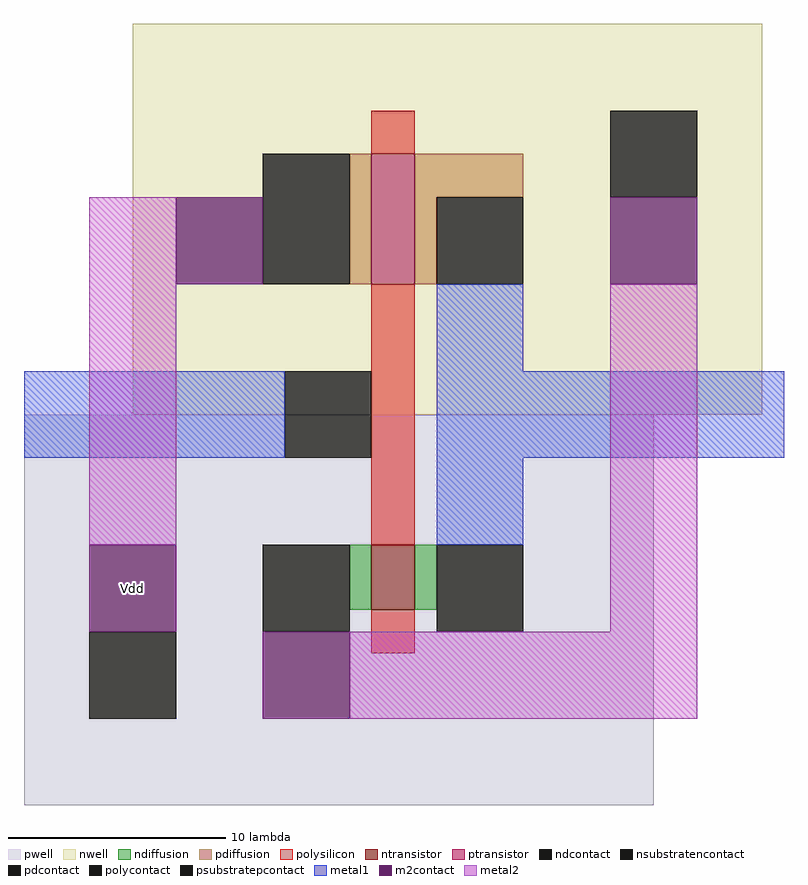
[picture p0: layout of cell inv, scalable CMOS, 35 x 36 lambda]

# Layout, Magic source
magic
tech scmos
<< nwell >>
rect -27 -9 2 9
<< pwell >>
rect -32 -27 -3 -9
<< ntransistor >>
rect -16 -18 -14 -15
<< ptransistor >>
rect -16 -3 -14 3
<< ndiffusion >>
rect -17 -18 -16 -15
rect -14 -18 -13 -15
<< pdiffusion >>
rect -17 -3 -16 3
rect -14 1 -9 3
rect -14 -3 -13 1
<< ndcontact >>
rect -21 -19 -17 -15
rect -13 -19 -9 -15
<< pdcontact >>
rect -21 -3 -17 3
rect -13 -3 -9 1
<< psubstratepcontact >>
rect -29 -23 -25 -19
<< nsubstratencontact >>
rect -5 1 -1 5
<< polysilicon >>
rect -16 3 -14 5
rect -16 -15 -14 -3
rect -16 -20 -14 -18
<< polycontact >>
rect -20 -11 -16 -7
<< metal1 >>
rect -13 -7 -9 -3
rect -32 -11 -20 -7
rect -13 -11 3 -7
rect -13 -15 -9 -11
<< m2contact >>
rect -25 -3 -21 1
rect -5 -3 -1 1
rect -29 -19 -25 -15
rect -21 -23 -17 -19
<< metal2 >>
rect -29 -15 -25 1
rect -5 -19 -1 -3
rect -17 -23 -1 -19
<< labels >>
rlabel m2contact -27 -17 -27 -17 3 Vdd
<< end >>
